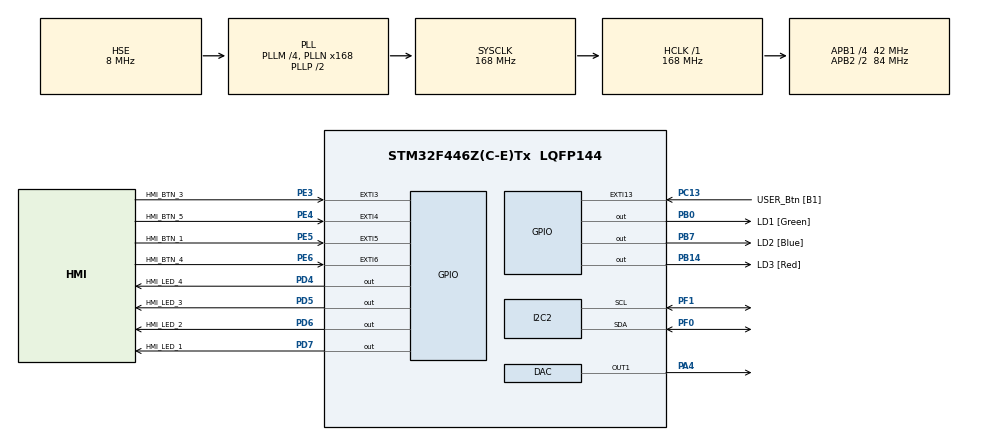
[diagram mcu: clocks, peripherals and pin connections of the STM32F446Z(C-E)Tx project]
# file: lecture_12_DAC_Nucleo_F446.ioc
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Mcu.Family=STM32F4
Mcu.Name=STM32F446Z(C-E)Tx
Mcu.Package=LQFP144
NVIC.EXTI15_10_IRQn=true\:0\:0\:false\:false\:true\:true\:true\:true
NVIC.EXTI3_IRQn=true\:0\:0\:false\:false\:true\:true\:true\:true
NVIC.EXTI4_IRQn=true\:0\:0\:false\:false\:true\:true\:true\:true
NVIC.EXTI9_5_IRQn=true\:0\:0\:false\:false\:true\:true\:true\:true
NVIC.PriorityGroup=NVIC_PRIORITYGROUP_4
PA13.Mode=Serial_Wire
PA13.Signal=SYS_JTMS-SWDIO
PA14.Mode=Serial_Wire
PA14.Signal=SYS_JTCK-SWCLK
PA4.Signal=COMP_DAC1_group
PB0.GPIO_Label=LD1 [Green]
PB0.Signal=GPIO_Output
PB14.GPIO_Label=LD3 [Red]
PB14.Signal=GPIO_Output
PB7.GPIO_Label=LD2 [Blue]
PB7.Signal=GPIO_Output
PC13.GPIO_Label=USER_Btn [B1]
PC13.Signal=GPXTI13
PC14-OSC32_IN.Mode=LSE-External-Oscillator
PC14-OSC32_IN.Signal=RCC_OSC32_IN
PC15-OSC32_OUT.Mode=LSE-External-Oscillator
PC15-OSC32_OUT.Signal=RCC_OSC32_OUT
PD4.GPIO_Label=HMI_LED_4
PD4.GPIO_ModeDefaultOutputPP=GPIO_MODE_OUTPUT_PP
PD4.GPIO_PuPd=GPIO_NOPULL
PD4.GPIO_Speed=GPIO_SPEED_FREQ_LOW
PD4.PinState=GPIO_PIN_RESET
PD4.Signal=GPIO_Output
PD5.GPIO_Label=HMI_LED_3
PD5.GPIO_ModeDefaultOutputPP=GPIO_MODE_OUTPUT_PP
PD5.GPIO_PuPd=GPIO_NOPULL
PD5.GPIO_Speed=GPIO_SPEED_FREQ_LOW
PD5.PinState=GPIO_PIN_RESET
PD5.Signal=GPIO_Output
PD6.GPIO_Label=HMI_LED_2
PD6.GPIO_ModeDefaultOutputPP=GPIO_MODE_OUTPUT_PP
PD6.GPIO_PuPd=GPIO_NOPULL
PD6.GPIO_Speed=GPIO_SPEED_FREQ_LOW
PD6.PinState=GPIO_PIN_RESET
PD6.Signal=GPIO_Output
PD7.GPIO_Label=HMI_LED_1
PD7.GPIO_ModeDefaultOutputPP=GPIO_MODE_OUTPUT_PP
PD7.GPIO_PuPd=GPIO_NOPULL
PD7.GPIO_Speed=GPIO_SPEED_FREQ_LOW
PD7.PinState=GPIO_PIN_RESET
PD7.Signal=GPIO_Output
PE3.GPIO_Label=HMI_BTN_3
PE3.GPIO_ModeDefaultEXTI=GPIO_MODE_IT_RISING_FALLING
PE3.Signal=GPXTI3
PE4.GPIO_Label=HMI_BTN_5
PE4.GPIO_ModeDefaultEXTI=GPIO_MODE_IT_RISING_FALLING
PE4.Signal=GPXTI4
PE5.GPIO_Label=HMI_BTN_1
PE5.GPIO_ModeDefaultEXTI=GPIO_MODE_IT_RISING_FALLING
PE5.Signal=GPXTI5
PE6.GPIO_Label=HMI_BTN_4
PE6.GPIO_ModeDefaultEXTI=GPIO_MODE_IT_RISING_FALLING
PE6.Signal=GPXTI6
PF0.Mode=I2C
PF0.Signal=I2C2_SDA
PF1.Mode=I2C
PF1.Signal=I2C2_SCL
PH0-OSC_IN.Mode=HSE-External-Clock-Source
PH0-OSC_IN.Signal=RCC_OSC_IN
PH1-OSC_OUT.Mode=HSE-External-Clock-Source
PH1-OSC_OUT.Signal=RCC_OSC_OUT
ProjectManager.HeapSize=0x200
ProjectManager.StackSize=0x400
ProjectManager.TargetToolchain=STM32CubeIDE
RCC.48MHZClocksFreq_Value=24000000
RCC.AHBFreq_Value=168000000
RCC.APB1CLKDivider=RCC_HCLK_DIV4
RCC.APB1Freq_Value=42000000
RCC.APB1TimFreq_Value=84000000
RCC.APB2CLKDivider=RCC_HCLK_DIV2
RCC.APB2Freq_Value=84000000
RCC.APB2TimFreq_Value=168000000
RCC.CortexFreq_Value=168000000
RCC.HCLKFreq_Value=168000000
RCC.HSE_VALUE=8000000
RCC.HSI_VALUE=16000000
RCC.PLLM=4
RCC.PLLMUL=RCC_PLL_MUL9
RCC.PLLN=168
RCC.PLLQ=7
RCC.PLLSourceVirtual=RCC_PLLSOURCE_HSE
RCC.PRESCALERUSB=RCC_USBCLKSOURCE_PLL_DIV1_5
RCC.SYSCLKFreq_VALUE=168000000
RCC.SYSCLKSource=RCC_SYSCLKSOURCE_PLLCLK
RCC.SYSCLKSourceVirtual=RCC_SYSCLKSOURCE_PLLCLK
RCC.USBFreq_Value=48000000
RCC.VCOOutputFreq_Value=336000000
SH.COMP_DAC1_group.0=DAC_OUT1,DAC_OUT1
board=NUCLEO-F446ZE

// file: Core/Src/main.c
/* USER CODE BEGIN Header */
/**
  ******************************************************************************
  * @file           : main.c
  * @brief          : Main program body
  ******************************************************************************
  * @attention
  *
  * Copyright (c) 2024 STMicroelectronics.
  * All rights reserved.
  *
  * This software is licensed under terms that can be found in the LICENSE file
  * in the root directory of this software component.
  * If no LICENSE file comes with this software, it is provided AS-IS.
  *
  ******************************************************************************
  */
/* USER CODE END Header */
#include "main.h"
#include "dac.h"
#include "i2c.h"
#include "gpio.h"

/* USER CODE BEGIN Includes */
/* Add the math library */
#include "math.h"
#include "OLED.h"
#include "stdio.h"
/* USER CODE END Includes */

void SystemClock_Config(void);

/* USER CODE BEGIN 0 */
// Sine generation function
void GenerateSine (uint32_t* sine,uint32_t length)
{
 // Generate a specified number of points
 for (int i=0; i<length; i++)
 {
	 // Calculate the values for the given points
	 sine[i] = ((sin(i*2*M_PI/length) + 1)*(4095/2));
 }
}
/* USER CODE END 0 */

int main(void)
{

  /* MCU Configuration--------------------------------------------------------*/

  /* Reset of all peripherals, Initializes the Flash interface and the Systick. */
  HAL_Init();

  /* Configure the system clock */
  SystemClock_Config();

  /* Initialize all configured peripherals */
  MX_GPIO_Init();
  MX_DAC_Init();
  MX_I2C2_Init();
  /* USER CODE BEGIN 2 */

  /* Output value in volt */
  float u_kimeneti = 1.0;
  /* Calculation of the digital input value, take care of the operational amplifier */
  uint32_t d_bemenet = (uint32_t)((u_kimeneti)*4095)/(3.3);
  /* Set the digital input value */
  HAL_DAC_SetValue(&hdac, DAC_CHANNEL_1, DAC_ALIGN_12B_R, d_bemenet);
  /* Start the analog-digital conversion */
  HAL_DAC_Start(&hdac, DAC_CHANNEL_1);

  /* array to store the point of the sine wave */
  uint32_t sine_data[100];

  /* Calculate the points of the sine wave*/
  GenerateSine(sine_data,100);
  for(int i = 0; i < 100; i++)
  {
	  sine_data[i] = (sine_data[i]);
  }

  /* USER CODE END 2 */

  /* Infinite loop */
  /* USER CODE BEGIN WHILE */
  while (1)
  {
	  for (int i = 0; i < 100; i++)
	  {
		  /* Set the digital input value */
		  HAL_DAC_SetValue(&hdac, DAC_CHANNEL_1, DAC_ALIGN_12B_R, sine_data[i]);
		  /* Start the analog-digital conversion */
		  HAL_DAC_Start(&hdac, DAC_CHANNEL_1);
		  /* Set the delay, this will be the time between two points */
		  HAL_Delay(0);
	  }

    /* USER CODE END WHILE */

  }
}

void SystemClock_Config(void)
{
  RCC_OscInitTypeDef RCC_OscInitStruct = {0};
  RCC_ClkInitTypeDef RCC_ClkInitStruct = {0};

  /** Configure the main internal regulator output voltage
  */
  __HAL_RCC_PWR_CLK_ENABLE();
  __HAL_PWR_VOLTAGESCALING_CONFIG(PWR_REGULATOR_VOLTAGE_SCALE1);

  /** Initializes the RCC Oscillators according to the specified parameters
  * in the RCC_OscInitTypeDef structure.
  */
  RCC_OscInitStruct.OscillatorType = RCC_OSCILLATORTYPE_HSE;
  RCC_OscInitStruct.HSEState = RCC_HSE_BYPASS;
  RCC_OscInitStruct.PLL.PLLState = RCC_PLL_ON;
  RCC_OscInitStruct.PLL.PLLSource = RCC_PLLSOURCE_HSE;
  RCC_OscInitStruct.PLL.PLLM = 4;
  RCC_OscInitStruct.PLL.PLLN = 168;
  RCC_OscInitStruct.PLL.PLLP = RCC_PLLP_DIV2;
  RCC_OscInitStruct.PLL.PLLQ = 7;
  RCC_OscInitStruct.PLL.PLLR = 2;
  if (HAL_RCC_OscConfig(&RCC_OscInitStruct) != HAL_OK)
  {
    Error_Handler();
  }

  /** Initializes the CPU, AHB and APB buses clocks
  */
  RCC_ClkInitStruct.ClockType = RCC_CLOCKTYPE_HCLK|RCC_CLOCKTYPE_SYSCLK
                              |RCC_CLOCKTYPE_PCLK1|RCC_CLOCKTYPE_PCLK2;
  RCC_ClkInitStruct.SYSCLKSource = RCC_SYSCLKSOURCE_PLLCLK;
  RCC_ClkInitStruct.AHBCLKDivider = RCC_SYSCLK_DIV1;
  RCC_ClkInitStruct.APB1CLKDivider = RCC_HCLK_DIV4;
  RCC_ClkInitStruct.APB2CLKDivider = RCC_HCLK_DIV2;

  if (HAL_RCC_ClockConfig(&RCC_ClkInitStruct, FLASH_LATENCY_5) != HAL_OK)
  {
    Error_Handler();
  }
}

void Error_Handler(void)
{
  __disable_irq();
  while (1)
  {
  }
}
